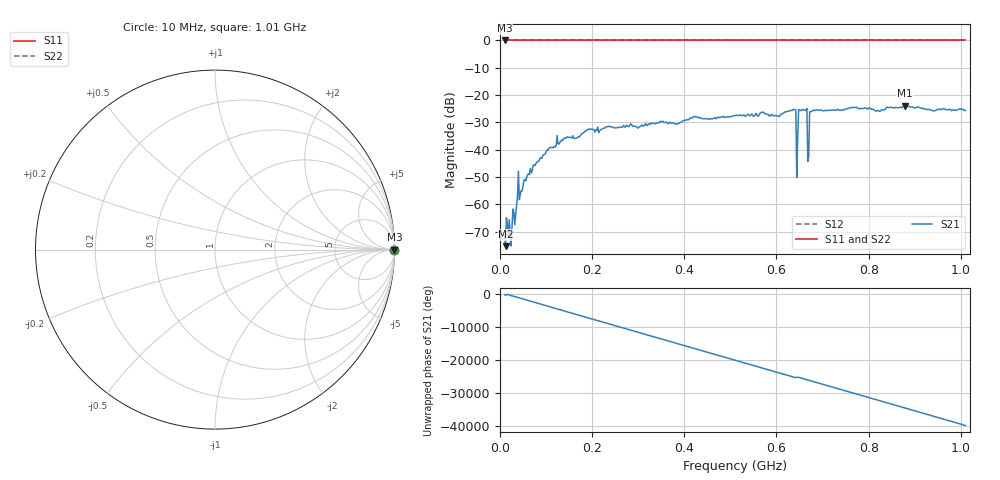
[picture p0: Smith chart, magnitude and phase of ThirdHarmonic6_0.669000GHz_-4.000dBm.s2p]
! 8/15/2025 10:15:22 PM
! C:\ANRITSUVNA\TEMP\TEMP.S2P
! CHANNEL.1
! TR.MEASUREMENT
! RAW.DATA
! RF.CORRECTION.OFF
! AVERAGING.OFF
! IF.BANDWIDTH: 5KHZ
! SWEEPTYPE:  FREQ.SWEEP(Linear)
! Reference Plane Port Info
! PORT:  PORT1  PORT2
! DISTANCE:  0  m  0  m
! TIME:  0  s  0  s
! PHASE.OFFSET:  0  deg.  0  deg.
! LOSS:  0  dB  0  dB
! REF.LOSS:  0  dB  0  dB
! REF.FREQ:  0  Hz  0  Hz
! Power Info
! POWER:  -20  dBm  -20  dBm
! EFF.POWER:  -20  dBm  -20  dBm
! SOURCE.ATTEN:  0  dB  0  dB
! TEST.ATTEN:  0  dB  0  dB
# GHZ S RI R 50.0
! FREQ.GHZ  S11RE  S11IM  S21RE  S21IM  S12RE  S12IM  S22RE  S22IM
!; PortSelection: Port_12
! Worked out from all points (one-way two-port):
!   501 points, 10 MHz to 1.01 GHz, reference 50 ohm
!   highest |S21| = -23.90 dB at 878 MHz (marker M1); lowest = -75.2 dB at 12 MHz (marker M2)
!   lowest |S11| = 0.0 dB at 10 MHz (marker M3)
!   |S11| at or under -10 dB: nowhere
!   |S22| runs from 0.0 to 0.0 dB; largest |S21 - S12| = 1.1
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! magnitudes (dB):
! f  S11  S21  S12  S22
! 10 MHz  0.0  -71.4  0.0  0.0
! 12 MHz  0.0  -75.2  0.0  0.0
! 18 MHz  0.0  -71.8  0.0  0.0
! 22 MHz  0.0  -70.9  0.0  0.0
! 42 MHz  0.0  -58.2  0.0  0.0
! 76 MHz  0.0  -45.7  0.0  0.0
! 128 MHz  0.0  -37.9  0.0  0.0
! 178 MHz  0.0  -34.0  0.0  0.0
! 344 MHz  0.0  -30.2  0.0  0.0
! 510 MHz  0.0  -27.4  0.0  0.0
! 638 MHz  0.0  -25.2  0.0  0.0
! 642 MHz  0.0  -25.4  0.0  0.0
! 648 MHz  0.0  -25.3  0.0  0.0
! 652 MHz  0.0  -25.7  0.0  0.0
! 662 MHz  0.0  -25.4  0.0  0.0
! 666 MHz  0.0  -24.9  0.0  0.0
! 672 MHz  0.0  -26.0  0.0  0.0
! 676 MHz  0.0  -25.9  0.0  0.0
! 678 MHz  0.0  -25.8  0.0  0.0
! 844 MHz  0.0  -24.6  0.0  0.0
! 878 MHz  0.0  -23.9  0.0  0.0
! 1.01 GHz  0.0  -25.7  0.0  0.0
